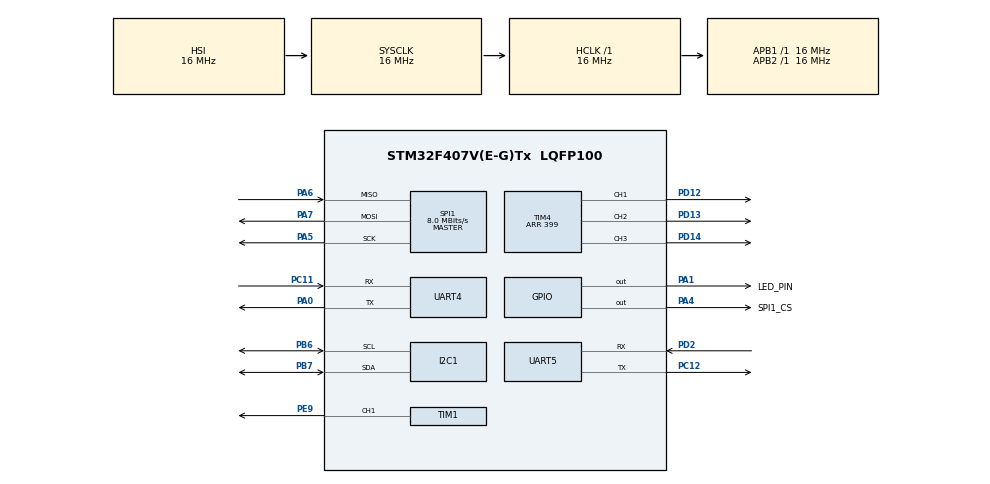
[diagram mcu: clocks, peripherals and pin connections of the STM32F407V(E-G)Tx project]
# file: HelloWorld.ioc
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Mcu.Family=STM32F4
Mcu.Name=STM32F407V(E-G)Tx
Mcu.Package=LQFP100
NVIC.PriorityGroup=NVIC_PRIORITYGROUP_4
NVIC.UART4_IRQn=true\:0\:0\:false\:false\:true\:true\:true\:true
PA0-WKUP.Mode=Asynchronous
PA0-WKUP.Signal=UART4_TX
PA1.GPIO_Label=LED_PIN
PA1.Signal=GPIO_Output
PA13.Mode=Serial_Wire
PA13.Signal=SYS_JTMS-SWDIO
PA14.Mode=Serial_Wire
PA14.Signal=SYS_JTCK-SWCLK
PA4.GPIO_Label=SPI1_CS
PA4.Signal=GPIO_Output
PA5.Mode=Full_Duplex_Master
PA5.Signal=SPI1_SCK
PA6.Mode=Full_Duplex_Master
PA6.Signal=SPI1_MISO
PA7.Mode=Full_Duplex_Master
PA7.Signal=SPI1_MOSI
PB6.Mode=I2C
PB6.Signal=I2C1_SCL
PB7.Mode=I2C
PB7.Signal=I2C1_SDA
PC11.Mode=Asynchronous
PC11.Signal=UART4_RX
PC12.Mode=Asynchronous
PC12.Signal=UART5_TX
PD12.Signal=S_TIM4_CH1
PD13.Signal=S_TIM4_CH2
PD14.Signal=S_TIM4_CH3
PD2.Mode=Asynchronous
PD2.Signal=UART5_RX
PE9.Signal=S_TIM1_CH1
ProjectManager.HeapSize=0x200
ProjectManager.StackSize=0x400
ProjectManager.TargetToolchain=STM32CubeIDE
RCC.AHBFreq_Value=16000000
RCC.APB1Freq_Value=16000000
RCC.APB2Freq_Value=16000000
RCC.CortexFreq_Value=16000000
RCC.HSE_VALUE=25000000
RCC.HSI_VALUE=16000000
RCC.LSE_VALUE=32768
RCC.SYSCLKFreq_VALUE=16000000
RCC.VCOOutputFreq_Value=192000000
SH.S_TIM1_CH1.0=TIM1_CH1,PWM Generation1 CH1
SH.S_TIM4_CH1.0=TIM4_CH1,PWM Generation1 CH1
SH.S_TIM4_CH2.0=TIM4_CH2,PWM Generation2 CH2
SH.S_TIM4_CH3.0=TIM4_CH3,PWM Generation3 CH3
SPI1.CalculateBaudRate=8.0 MBits/s
SPI1.Direction=SPI_DIRECTION_2LINES
SPI1.Mode=SPI_MODE_MASTER
SPI1.VirtualType=VM_MASTER
TIM1.Channel-PWM\ Generation1\ CH1=TIM_CHANNEL_1
TIM1.Period=9999
TIM1.Prescaler=15
TIM4.Channel-PWM\ Generation1\ CH1=TIM_CHANNEL_1
TIM4.Channel-PWM\ Generation2\ CH2=TIM_CHANNEL_2
TIM4.Channel-PWM\ Generation3\ CH3=TIM_CHANNEL_3
TIM4.Period=399
UART4.VirtualMode=Asynchronous
UART5.VirtualMode=Asynchronous
VP_TIM1_VS_ClockSourceINT.Mode=Internal
VP_TIM4_VS_ClockSourceINT.Mode=Internal
board=custom

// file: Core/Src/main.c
/* USER CODE BEGIN Header */
/**
  ******************************************************************************
  * @file           : main.c
  * @brief          : Main program body
  ******************************************************************************
  * @attention
  *
  * Copyright (c) 2023 STMicroelectronics.
  * All rights reserved.
  *
  * This software is licensed under terms that can be found in the LICENSE file
  * in the root directory of this software component.
  * If no LICENSE file comes with this software, it is provided AS-IS.
  *
  ******************************************************************************
  */
/* USER CODE END Header */
#include "main.h"

/* USER CODE BEGIN Includes */
#include <string.h>
/* USER CODE END Includes */

/* USER CODE BEGIN PD */
#define Kp 1
#define Ki 1
#define Kd 1

#define ICM20948_ADDRESS 0x68				// Endereço para o ICM20948
#define ACCEL_XOUT_H 0x2D					// Registradores para leitura dos dados
#define GYRO_XOUT_H 0x33					// Registradores para leitura dos dados
#define MAG_XOUT_L 0x04						// Registradores para leitura dos dados
/* USER CODE END PD */

I2C_HandleTypeDef hi2c1;

SPI_HandleTypeDef hspi1;

TIM_HandleTypeDef htim1;
TIM_HandleTypeDef htim4;

UART_HandleTypeDef huart4;
UART_HandleTypeDef huart5;

/* USER CODE BEGIN PV */
uint16_t ui16_rwxOUT[2];						// Reaction Wheel - X - OUT

/* USER CODE END PV */

void SystemClock_Config(void);
static void MX_GPIO_Init(void);
static void MX_I2C1_Init(void);
static void MX_TIM1_Init(void);
static void MX_TIM4_Init(void);
static void MX_UART5_Init(void);
static void MX_UART4_Init(void);
static void MX_SPI1_Init(void);
/* USER CODE BEGIN PFP */
void receivedFromOBDH(void);
void antennaDriver(int signal);
/* USER CODE END PFP */

/* USER CODE BEGIN 0 */
uint8_t antennaDrive;
uint16_t attitudeSetpoint;

/* USER CODE END 0 */

int main(void)
{

  /* MCU Configuration--------------------------------------------------------*/

  /* Reset of all peripherals, Initializes the Flash interface and the Systick. */
  HAL_Init();

  /* Configure the system clock */
  SystemClock_Config();

  /* Initialize all configured peripherals */
  MX_GPIO_Init();
  MX_I2C1_Init();
  MX_TIM1_Init();
  MX_TIM4_Init();
  MX_UART5_Init();
  MX_UART4_Init();
  MX_SPI1_Init();
  /* USER CODE BEGIN 2 */
  HAL_Delay(100);

  MX_SPI1_Init();
  HAL_TIM_PWM_Start(&htim1, TIM_CHANNEL_1);			// Inicializa o PWM para o servo motor
  HAL_TIM_PWM_Start(&htim4, TIM_CHANNEL_1);			// Inicializa o PWM para a roda de reacao em X

  /* USER CODE END 2 */

  /* Infinite loop */
  while (1)
  {

  }
}

void SystemClock_Config(void)
{
  RCC_OscInitTypeDef RCC_OscInitStruct = {0};
  RCC_ClkInitTypeDef RCC_ClkInitStruct = {0};

  /** Configure the main internal regulator output voltage
  */
  __HAL_RCC_PWR_CLK_ENABLE();
  __HAL_PWR_VOLTAGESCALING_CONFIG(PWR_REGULATOR_VOLTAGE_SCALE1);

  /** Initializes the RCC Oscillators according to the specified parameters
  * in the RCC_OscInitTypeDef structure.
  */
  RCC_OscInitStruct.OscillatorType = RCC_OSCILLATORTYPE_HSI;
  RCC_OscInitStruct.HSIState = RCC_HSI_ON;
  RCC_OscInitStruct.HSICalibrationValue = RCC_HSICALIBRATION_DEFAULT;
  RCC_OscInitStruct.PLL.PLLState = RCC_PLL_NONE;
  if (HAL_RCC_OscConfig(&RCC_OscInitStruct) != HAL_OK)
  {
    Error_Handler();
  }

  /** Initializes the CPU, AHB and APB buses clocks
  */
  RCC_ClkInitStruct.ClockType = RCC_CLOCKTYPE_HCLK|RCC_CLOCKTYPE_SYSCLK
                              |RCC_CLOCKTYPE_PCLK1|RCC_CLOCKTYPE_PCLK2;
  RCC_ClkInitStruct.SYSCLKSource = RCC_SYSCLKSOURCE_HSI;
  RCC_ClkInitStruct.AHBCLKDivider = RCC_SYSCLK_DIV1;
  RCC_ClkInitStruct.APB1CLKDivider = RCC_HCLK_DIV1;
  RCC_ClkInitStruct.APB2CLKDivider = RCC_HCLK_DIV1;

  if (HAL_RCC_ClockConfig(&RCC_ClkInitStruct, FLASH_LATENCY_0) != HAL_OK)
  {
    Error_Handler();
  }
}

static void MX_I2C1_Init(void)
{

  hi2c1.Instance = I2C1;
  hi2c1.Init.ClockSpeed = 100000;
  hi2c1.Init.DutyCycle = I2C_DUTYCYCLE_2;
  hi2c1.Init.OwnAddress1 = 0;
  hi2c1.Init.AddressingMode = I2C_ADDRESSINGMODE_7BIT;
  hi2c1.Init.DualAddressMode = I2C_DUALADDRESS_DISABLE;
  hi2c1.Init.OwnAddress2 = 0;
  hi2c1.Init.GeneralCallMode = I2C_GENERALCALL_DISABLE;
  hi2c1.Init.NoStretchMode = I2C_NOSTRETCH_DISABLE;
  if (HAL_I2C_Init(&hi2c1) != HAL_OK)
  {
    Error_Handler();
  }

}

static void MX_SPI1_Init(void)
{

  /* SPI1 parameter configuration*/
  hspi1.Instance = SPI1;
  hspi1.Init.Mode = SPI_MODE_MASTER;
  hspi1.Init.Direction = SPI_DIRECTION_2LINES;
  hspi1.Init.DataSize = SPI_DATASIZE_8BIT;
  hspi1.Init.CLKPolarity = SPI_POLARITY_LOW;
  hspi1.Init.CLKPhase = SPI_PHASE_1EDGE;
  hspi1.Init.NSS = SPI_NSS_SOFT;
  hspi1.Init.BaudRatePrescaler = SPI_BAUDRATEPRESCALER_2;
  hspi1.Init.FirstBit = SPI_FIRSTBIT_MSB;
  hspi1.Init.TIMode = SPI_TIMODE_DISABLE;
  hspi1.Init.CRCCalculation = SPI_CRCCALCULATION_DISABLE;
  hspi1.Init.CRCPolynomial = 10;
  if (HAL_SPI_Init(&hspi1) != HAL_OK)
  {
    Error_Handler();
  }

}

static void MX_TIM1_Init(void)
{

  TIM_ClockConfigTypeDef sClockSourceConfig = {0};
  TIM_MasterConfigTypeDef sMasterConfig = {0};
  TIM_OC_InitTypeDef sConfigOC = {0};
  TIM_BreakDeadTimeConfigTypeDef sBreakDeadTimeConfig = {0};

  htim1.Instance = TIM1;
  htim1.Init.Prescaler = 15;
  htim1.Init.CounterMode = TIM_COUNTERMODE_UP;
  htim1.Init.Period = 9999;
  htim1.Init.ClockDivision = TIM_CLOCKDIVISION_DIV1;
  htim1.Init.RepetitionCounter = 0;
  htim1.Init.AutoReloadPreload = TIM_AUTORELOAD_PRELOAD_DISABLE;
  if (HAL_TIM_Base_Init(&htim1) != HAL_OK)
  {
    Error_Handler();
  }
  sClockSourceConfig.ClockSource = TIM_CLOCKSOURCE_INTERNAL;
  if (HAL_TIM_ConfigClockSource(&htim1, &sClockSourceConfig) != HAL_OK)
  {
    Error_Handler();
  }
  if (HAL_TIM_PWM_Init(&htim1) != HAL_OK)
  {
    Error_Handler();
  }
  sMasterConfig.MasterOutputTrigger = TIM_TRGO_RESET;
  sMasterConfig.MasterSlaveMode = TIM_MASTERSLAVEMODE_DISABLE;
  if (HAL_TIMEx_MasterConfigSynchronization(&htim1, &sMasterConfig) != HAL_OK)
  {
    Error_Handler();
  }
  sConfigOC.OCMode = TIM_OCMODE_PWM1;
  sConfigOC.Pulse = 0;
  sConfigOC.OCPolarity = TIM_OCPOLARITY_HIGH;
  sConfigOC.OCNPolarity = TIM_OCNPOLARITY_HIGH;
  sConfigOC.OCFastMode = TIM_OCFAST_DISABLE;
  sConfigOC.OCIdleState = TIM_OCIDLESTATE_RESET;
  sConfigOC.OCNIdleState = TIM_OCNIDLESTATE_RESET;
  if (HAL_TIM_PWM_ConfigChannel(&htim1, &sConfigOC, TIM_CHANNEL_1) != HAL_OK)
  {
    Error_Handler();
  }
  sBreakDeadTimeConfig.OffStateRunMode = TIM_OSSR_DISABLE;
  sBreakDeadTimeConfig.OffStateIDLEMode = TIM_OSSI_DISABLE;
  sBreakDeadTimeConfig.LockLevel = TIM_LOCKLEVEL_OFF;
  sBreakDeadTimeConfig.DeadTime = 0;
  sBreakDeadTimeConfig.BreakState = TIM_BREAK_DISABLE;
  sBreakDeadTimeConfig.BreakPolarity = TIM_BREAKPOLARITY_HIGH;
  sBreakDeadTimeConfig.AutomaticOutput = TIM_AUTOMATICOUTPUT_DISABLE;
  if (HAL_TIMEx_ConfigBreakDeadTime(&htim1, &sBreakDeadTimeConfig) != HAL_OK)
  {
    Error_Handler();
  }
  HAL_TIM_MspPostInit(&htim1);

}

static void MX_TIM4_Init(void)
{

  TIM_ClockConfigTypeDef sClockSourceConfig = {0};
  TIM_MasterConfigTypeDef sMasterConfig = {0};
  TIM_OC_InitTypeDef sConfigOC = {0};

  htim4.Instance = TIM4;
  htim4.Init.Prescaler = 0;
  htim4.Init.CounterMode = TIM_COUNTERMODE_UP;
  htim4.Init.Period = 399;
  htim4.Init.ClockDivision = TIM_CLOCKDIVISION_DIV1;
  htim4.Init.AutoReloadPreload = TIM_AUTORELOAD_PRELOAD_DISABLE;
  if (HAL_TIM_Base_Init(&htim4) != HAL_OK)
  {
    Error_Handler();
  }
  sClockSourceConfig.ClockSource = TIM_CLOCKSOURCE_INTERNAL;
  if (HAL_TIM_ConfigClockSource(&htim4, &sClockSourceConfig) != HAL_OK)
  {
    Error_Handler();
  }
  if (HAL_TIM_PWM_Init(&htim4) != HAL_OK)
  {
    Error_Handler();
  }
  sMasterConfig.MasterOutputTrigger = TIM_TRGO_RESET;
  sMasterConfig.MasterSlaveMode = TIM_MASTERSLAVEMODE_DISABLE;
  if (HAL_TIMEx_MasterConfigSynchronization(&htim4, &sMasterConfig) != HAL_OK)
  {
    Error_Handler();
  }
  sConfigOC.OCMode = TIM_OCMODE_PWM1;
  sConfigOC.Pulse = 0;
  sConfigOC.OCPolarity = TIM_OCPOLARITY_HIGH;
  sConfigOC.OCFastMode = TIM_OCFAST_DISABLE;
  if (HAL_TIM_PWM_ConfigChannel(&htim4, &sConfigOC, TIM_CHANNEL_1) != HAL_OK)
  {
    Error_Handler();
  }
  if (HAL_TIM_PWM_ConfigChannel(&htim4, &sConfigOC, TIM_CHANNEL_2) != HAL_OK)
  {
    Error_Handler();
  }
  if (HAL_TIM_PWM_ConfigChannel(&htim4, &sConfigOC, TIM_CHANNEL_3) != HAL_OK)
  {
    Error_Handler();
  }
  HAL_TIM_MspPostInit(&htim4);

}

static void MX_UART4_Init(void)
{

  huart4.Instance = UART4;
  huart4.Init.BaudRate = 115200;
  huart4.Init.WordLength = UART_WORDLENGTH_8B;
  huart4.Init.StopBits = UART_STOPBITS_1;
  huart4.Init.Parity = UART_PARITY_NONE;
  huart4.Init.Mode = UART_MODE_TX_RX;
  huart4.Init.HwFlowCtl = UART_HWCONTROL_NONE;
  huart4.Init.OverSampling = UART_OVERSAMPLING_16;
  if (HAL_UART_Init(&huart4) != HAL_OK)
  {
    Error_Handler();
  }

}

static void MX_UART5_Init(void)
{

  huart5.Instance = UART5;
  huart5.Init.BaudRate = 115200;
  huart5.Init.WordLength = UART_WORDLENGTH_8B;
  huart5.Init.StopBits = UART_STOPBITS_1;
  huart5.Init.Parity = UART_PARITY_NONE;
  huart5.Init.Mode = UART_MODE_TX_RX;
  huart5.Init.HwFlowCtl = UART_HWCONTROL_NONE;
  huart5.Init.OverSampling = UART_OVERSAMPLING_16;
  if (HAL_UART_Init(&huart5) != HAL_OK)
  {
    Error_Handler();
  }

}

static void MX_GPIO_Init(void)
{
  GPIO_InitTypeDef GPIO_InitStruct = {0};

  /* GPIO Ports Clock Enable */
  __HAL_RCC_GPIOA_CLK_ENABLE();
  __HAL_RCC_GPIOE_CLK_ENABLE();
  __HAL_RCC_GPIOD_CLK_ENABLE();
  __HAL_RCC_GPIOC_CLK_ENABLE();
  __HAL_RCC_GPIOB_CLK_ENABLE();

  /*Configure GPIO pin Output Level */
  HAL_GPIO_WritePin(GPIOA, LED_PIN_Pin|SPI1_CS_Pin, GPIO_PIN_RESET);

  /*Configure GPIO pins : LED_PIN_Pin SPI1_CS_Pin */
  GPIO_InitStruct.Pin = LED_PIN_Pin|SPI1_CS_Pin;
  GPIO_InitStruct.Mode = GPIO_MODE_OUTPUT_PP;
  GPIO_InitStruct.Pull = GPIO_NOPULL;
  GPIO_InitStruct.Speed = GPIO_SPEED_FREQ_LOW;
  HAL_GPIO_Init(GPIOA, &GPIO_InitStruct);

}

/* USER CODE BEGIN 4 */

void receivedFromOBDH(){
	uint8_t receivedDataFromOBDH[5];
	HAL_UART_Receive(&huart4, receivedDataFromOBDH, 5, 100);
	if(receivedDataFromOBDH[0] == 1){
		antennaDrive = receivedDataFromOBDH[1];
		antennaDriver(antennaDrive);
	}
	if(receivedDataFromOBDH[2] == 1){
		attitudeSetpoint = ((uint16_t)receivedDataFromOBDH[3] << 8) | receivedDataFromOBDH[4];
	}

}

void antennaDriver(int signal){
	if(signal == 0){
		__HAL_TIM_SET_COMPARE(&htim1, TIM_CHANNEL_1, 250);
	}
	if(signal == 1){
		__HAL_TIM_SET_COMPARE(&htim1, TIM_CHANNEL_1, 1500);
	}
}

/* USER CODE END 4 */

void Error_Handler(void)
{
  __disable_irq();
  while (1)
  {
  }
}
